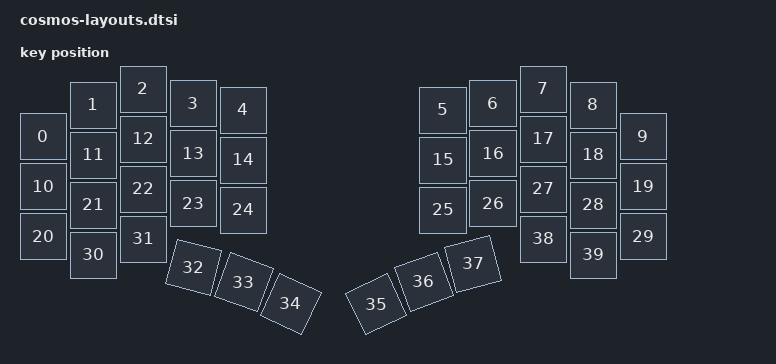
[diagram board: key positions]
#include <physical_layouts.dtsi>

/ {
    physical_layout0: physical_layout_0 {
        compatible = "zmk,physical-layout";
        display-name = "Base";

        kscan = <&kscan0>;
        transform = <&default_transform>;

        keys  //                     w   h    x    y     rot    rx    ry
            = <&key_physical_attrs 100 100    0   95       0     0     0>
            , <&key_physical_attrs 100 100  100   32       0     0     0>
            , <&key_physical_attrs 100 100  200    0       0     0     0>
            , <&key_physical_attrs 100 100  300   29       0     0     0>
            , <&key_physical_attrs 100 100  400   42       0     0     0>
            , <&key_physical_attrs 100 100  800   42       0     0     0>
            , <&key_physical_attrs 100 100  900   29       0     0     0>
            , <&key_physical_attrs 100 100 1000    0       0     0     0>
            , <&key_physical_attrs 100 100 1100   32       0     0     0>
            , <&key_physical_attrs 100 100 1200   95       0     0     0>
            , <&key_physical_attrs 100 100    0  195       0     0     0>
            , <&key_physical_attrs 100 100  100  132       0     0     0>
            , <&key_physical_attrs 100 100  200  100       0     0     0>
            , <&key_physical_attrs 100 100  300  129       0     0     0>
            , <&key_physical_attrs 100 100  400  142       0     0     0>
            , <&key_physical_attrs 100 100  800  142       0     0     0>
            , <&key_physical_attrs 100 100  900  129       0     0     0>
            , <&key_physical_attrs 100 100 1000  100       0     0     0>
            , <&key_physical_attrs 100 100 1100  132       0     0     0>
            , <&key_physical_attrs 100 100 1200  195       0     0     0>
            , <&key_physical_attrs 100 100    0  295       0     0     0>
            , <&key_physical_attrs 100 100  100  232       0     0     0>
            , <&key_physical_attrs 100 100  200  200       0     0     0>
            , <&key_physical_attrs 100 100  300  229       0     0     0>
            , <&key_physical_attrs 100 100  400  242       0     0     0>
            , <&key_physical_attrs 100 100  800  242       0     0     0>
            , <&key_physical_attrs 100 100  900  229       0     0     0>
            , <&key_physical_attrs 100 100 1000  200       0     0     0>
            , <&key_physical_attrs 100 100 1100  232       0     0     0>
            , <&key_physical_attrs 100 100 1200  295       0     0     0>
            , <&key_physical_attrs 100 100  100  332       0     0     0>
            , <&key_physical_attrs 100 100  200  300       0     0     0>
            , <&key_physical_attrs 100 100  280  380    1500   430   500>
            , <&key_physical_attrs 100 100  380  390    2000   450   500>
            , <&key_physical_attrs 100 100  480  400    2500   470   500>
            , <&key_physical_attrs 100 100  680  410 (-2500)   770   500>
            , <&key_physical_attrs 100 100  780  410 (-2000)   750   500>
            , <&key_physical_attrs 100 100  880  400 (-1500)   730   500>
            , <&key_physical_attrs 100 100 1000  300       0     0     0>
            , <&key_physical_attrs 100 100 1100  332       0     0     0>
            ;
    };
};
